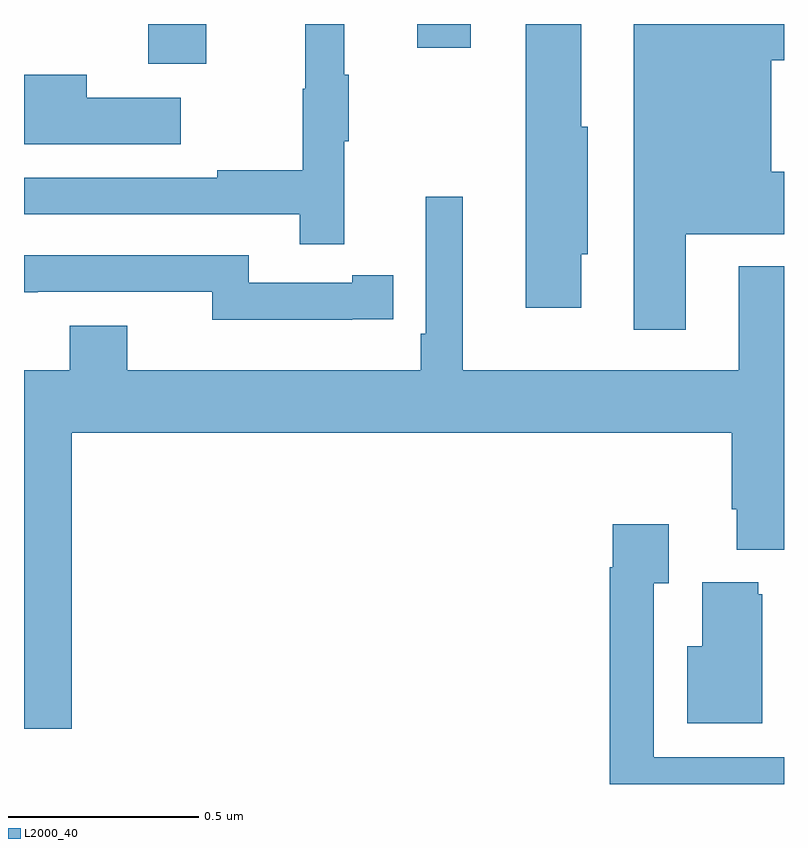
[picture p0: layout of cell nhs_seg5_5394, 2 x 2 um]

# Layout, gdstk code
import gdstk
lib = gdstk.Library(unit=1e-6, precision=1e-09)
def R(c, l, rs):  # rectangles x0, y0, x1, y1
    for r in rs: c.add(gdstk.rectangle(r[:2], r[2:], *l))
def P(c, l, *ps):  # polygons
    for p in ps: c.add(gdstk.Polygon(p, *l))
L2000_40 = (2000, 40)

nhs_seg5_5394 = lib.new_cell('nhs_seg5_5394')
R(nhs_seg5_5394, L2000_40, [(182.327,893.694,182.479,893.799), (183.035,893.736,183.175,893.799)])
P(nhs_seg5_5394, L2000_40, [(183.466,893.193),(183.484,893.193),(183.484,893.529),(183.466,893.529),(183.466,893.799),(183.32,893.799),(183.32,893.052),(183.466,893.052)],
  [(183.742,893.246),(184,893.246),(184,893.41),(183.967,893.41),(183.967,893.703),(184,893.703),(184,893.799),(183.605,893.799),(183.605,892.995),(183.742,892.995)],
  [(182.843,893.491),(182.854,893.491),(182.854,893.665),(182.843,893.665),(182.843,893.799),(182.74,893.799),(182.74,893.628),(182.733,893.628),(182.733,893.414),(182.509,893.414),(182.509,893.394),(182,893.394),(182,893.298),(182.725,893.298),(182.725,893.22),(182.843,893.22)],
  [(182.413,893.605),(182.165,893.605),(182.165,893.665),(182,893.665),(182,893.483),(182.413,893.483)],
  [(182.126,892.724),(183.863,892.724),(183.863,892.522),(183.875,892.522),(183.875,892.415),(184,892.415),(184,893.161),(183.881,893.161),(183.881,892.888),(183.154,892.888),(183.154,893.344),(183.057,893.344),(183.057,892.984),(183.044,892.984),(183.044,892.888),(182.272,892.888),(182.272,893.005),(182.12,893.005),(182.12,892.888),(182,892.888),(182,891.945),(182.126,891.945)],
  [(182.864,893.022),(182.972,893.022),(182.972,893.138),(182.864,893.138),(182.864,893.118),(182.592,893.118),(182.592,893.19),(182,893.19),(182,893.093),(182.036,893.093),(182.036,893.094),(182.496,893.094),(182.496,893.021),(182.864,893.021)],
  [(184,891.87),(183.657,891.87),(183.657,892.327),(183.697,892.327),(183.697,892.483),(183.549,892.483),(183.549,892.37),(183.541,892.37),(183.541,891.799),(184,891.799)],
  [(183.943,892.299),(183.932,892.299),(183.932,892.33),(183.785,892.33),(183.785,892.162),(183.746,892.162),(183.746,891.959),(183.943,891.959)])

lib.write_gds('nhs_seg5_5394.gds')
